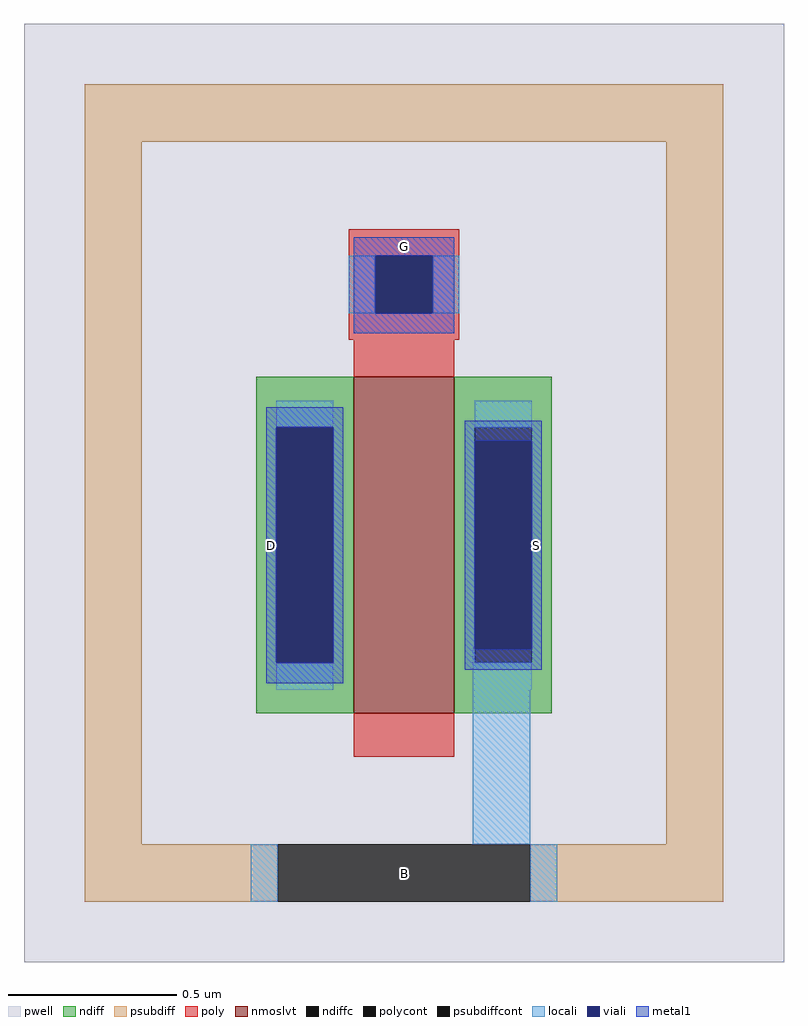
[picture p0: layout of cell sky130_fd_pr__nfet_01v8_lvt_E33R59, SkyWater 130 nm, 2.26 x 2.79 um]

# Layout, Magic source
magic
tech sky130B
magscale 1 2
<< pwell >>
rect -226 -279 226 279
<< nmoslvt >>
rect -30 -131 30 69
<< ndiff >>
rect -88 39 -30 69
rect -88 -101 -76 39
rect -42 -101 -30 39
rect -88 -131 -30 -101
rect 30 39 88 69
rect 30 -101 42 39
rect 76 -101 88 39
rect 30 -131 88 -101
<< ndiffc >>
rect -76 -101 -42 39
rect 42 -101 76 39
<< psubdiff >>
rect -190 209 190 243
rect -190 -209 -156 209
rect 156 -209 190 209
rect -190 -243 -75 -209
rect 75 -243 190 -209
<< psubdiffcont >>
rect -75 -243 75 -209
<< poly >>
rect -33 141 33 157
rect -33 107 -17 141
rect 17 107 33 141
rect -33 91 33 107
rect -30 69 30 91
rect -30 -157 30 -131
<< polycont >>
rect -17 107 17 141
<< locali >>
rect -33 107 -17 141
rect 17 107 33 141
rect -76 39 -42 55
rect 42 39 76 55
rect -76 -117 -42 -101
rect 41 -101 42 -92
rect 41 -117 76 -101
rect 41 -209 75 -117
rect -91 -243 -75 -209
rect 75 -243 91 -209
<< viali >>
rect -17 107 17 141
rect -76 -101 -42 39
rect 42 -93 76 31
<< metal1 >>
rect -30 141 30 152
rect -30 107 -17 141
rect 17 107 30 141
rect -30 95 30 107
rect -82 39 -36 51
rect -82 -101 -76 39
rect -42 -101 -36 39
rect -82 -113 -36 -101
rect 36 31 82 43
rect 36 -93 42 31
rect 76 -93 82 31
rect 36 -105 82 -93
<< labels >>
flabel metal1 -82 -113 -76 51 0 FreeSans 160 0 0 0 D
port 0 nsew
flabel metal1 76 -105 82 43 0 FreeSans 160 0 0 0 S
port 1 nsew
flabel metal1 -30 141 30 152 0 FreeSans 160 0 0 0 G
port 2 nsew
rlabel locali -91 -243 91 -209 5 B
port 3 s
<< properties >>
string FIXED_BBOX -173 -226 173 226
string gencell sky130_fd_pr__nfet_01v8_lvt
string library sky130
string parameters w 1 l 0.3 m 1 nf 1 diffcov 80 polycov 80 guard 1 glc 0 grc 0 gtc 0 gbc 1 tbcov 80 rlcov 80 topc 1 botc 0 poverlap 0 doverlap 1 lmin 0.15 wmin 0.42 compatible {sky130_fd_pr__nfet_01v8 sky130_fd_pr__nfet_01v8_lvt  sky130_fd_bs_flash__special_sonosfet_star  sky130_fd_pr__nfet_g5v0d10v5 sky130_fd_pr__nfet_05v0_nvt  sky130_fd_pr__nfet_03v3_nvt} full_metal 0 viasrc 70 viadrn 80 viagate 80 viagb 0 viagr 0 viagl 0 viagt 0
<< end >>
